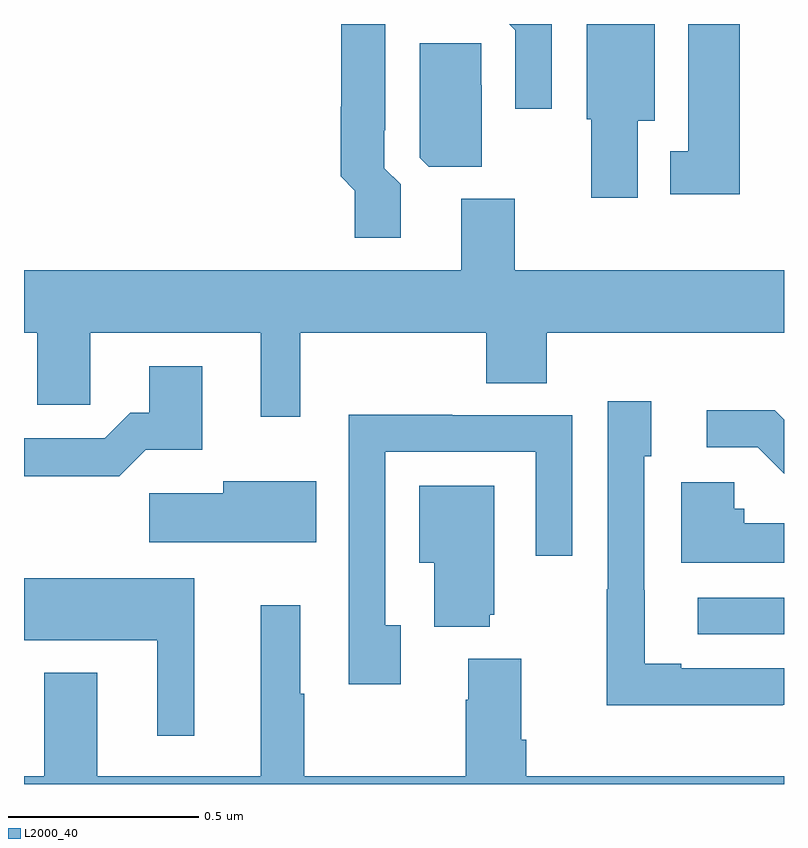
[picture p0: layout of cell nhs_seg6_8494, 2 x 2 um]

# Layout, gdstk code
import gdstk
lib = gdstk.Library(unit=1e-6, precision=1e-09)
def R(c, l, rs):  # rectangles x0, y0, x1, y1
    for r in rs: c.add(gdstk.rectangle(r[:2], r[2:], *l))
def P(c, l, *ps):  # polygons
    for p in ps: c.add(gdstk.Polygon(p, *l))
L2000_40 = (2000, 40)

nhs_seg6_8494 = lib.new_cell('nhs_seg6_8494')
R(nhs_seg6_8494, L2000_40, [(223.773,927.894,224,927.99)])
P(nhs_seg6_8494, L2000_40, [(223.615,929.246),(223.66,929.246),(223.66,929.5),(223.481,929.5),(223.481,929.25),(223.493,929.25),(223.493,929.043),(223.615,929.043)],
  [(223.389,929.5),(223.277,929.5),(223.293,929.484),(223.293,929.277),(223.389,929.277)],
  [(223.883,929.5),(223.748,929.5),(223.748,929.165),(223.7,929.165),(223.7,929.052),(223.883,929.052)],
  [(222.991,929.078),(222.948,929.121),(222.948,929.221),(222.951,929.221),(222.951,929.5),(222.835,929.5),(222.835,929.282),(222.833,929.282),(222.833,929.1),(222.871,929.061),(222.871,928.938),(222.991,928.938)],
  [(223.204,929.339),(223.203,929.339),(223.203,929.45),(223.041,929.45),(223.041,929.148),(223.065,929.125),(223.204,929.125)],
  [(222.727,928.688),(223.216,928.688),(223.216,928.555),(223.376,928.555),(223.376,928.688),(224,928.688),(224,928.852),(223.291,928.852),(223.291,929.04),(223.151,929.04),(223.151,928.852),(222,928.852),(222,928.688),(222.035,928.688),(222.035,928.498),(222.174,928.498),(222.174,928.688),(222.623,928.688),(222.623,928.467),(222.727,928.467)],
  [(222.32,928.379),(222.469,928.379),(222.469,928.6),(222.329,928.6),(222.329,928.477),(222.28,928.477),(222.213,928.41),(222,928.41),(222,928.31),(222.251,928.31)],
  [(223.997,927.708),(224,927.708),(224,927.804),(223.729,927.804),(223.729,927.817),(223.633,927.817),(223.633,928.01),(223.632,928.01),(223.632,928.362),(223.651,928.362),(223.651,928.507),(223.536,928.507),(223.536,928.013),(223.534,928.013),(223.534,927.707),(223.997,927.707)],
  [(224,928.459),(223.975,928.484),(223.797,928.484),(223.797,928.386),(223.931,928.386),(224,928.317)],
  [(222.991,927.918),(222.951,927.918),(222.951,928.374),(223.347,928.374),(223.347,928.101),(223.443,928.101),(223.443,928.47),(223.127,928.47),(223.127,928.472),(222.855,928.472),(222.855,927.762),(222.991,927.762)],
  [(222.769,928.297),(222.524,928.297),(222.524,928.265),(222.33,928.265),(222.33,928.136),(222.769,928.136)],
  [(224,928.186),(223.896,928.186),(223.896,928.224),(223.869,928.224),(223.869,928.294),(223.73,928.294),(223.73,928.082),(224,928.082)],
  [(223.226,927.945),(223.237,927.945),(223.237,928.285),(223.04,928.285),(223.04,928.082),(223.079,928.082),(223.079,927.914),(223.226,927.914)],
  [(222.448,928.042),(222,928.042),(222,927.878),(222.35,927.878),(222.35,927.627),(222.448,927.627)],
  [(224,927.52),(223.322,927.52),(223.322,927.616),(223.309,927.616),(223.309,927.829),(223.169,927.829),(223.169,927.722),(223.162,927.722),(223.162,927.52),(222.737,927.52),(222.737,927.737),(222.727,927.737),(222.727,927.97),(222.623,927.97),(222.623,927.52),(222.193,927.52),(222.193,927.793),(222.053,927.793),(222.053,927.52),(222,927.52),(222,927.5),(224,927.5)])

lib.write_gds('nhs_seg6_8494.gds')
